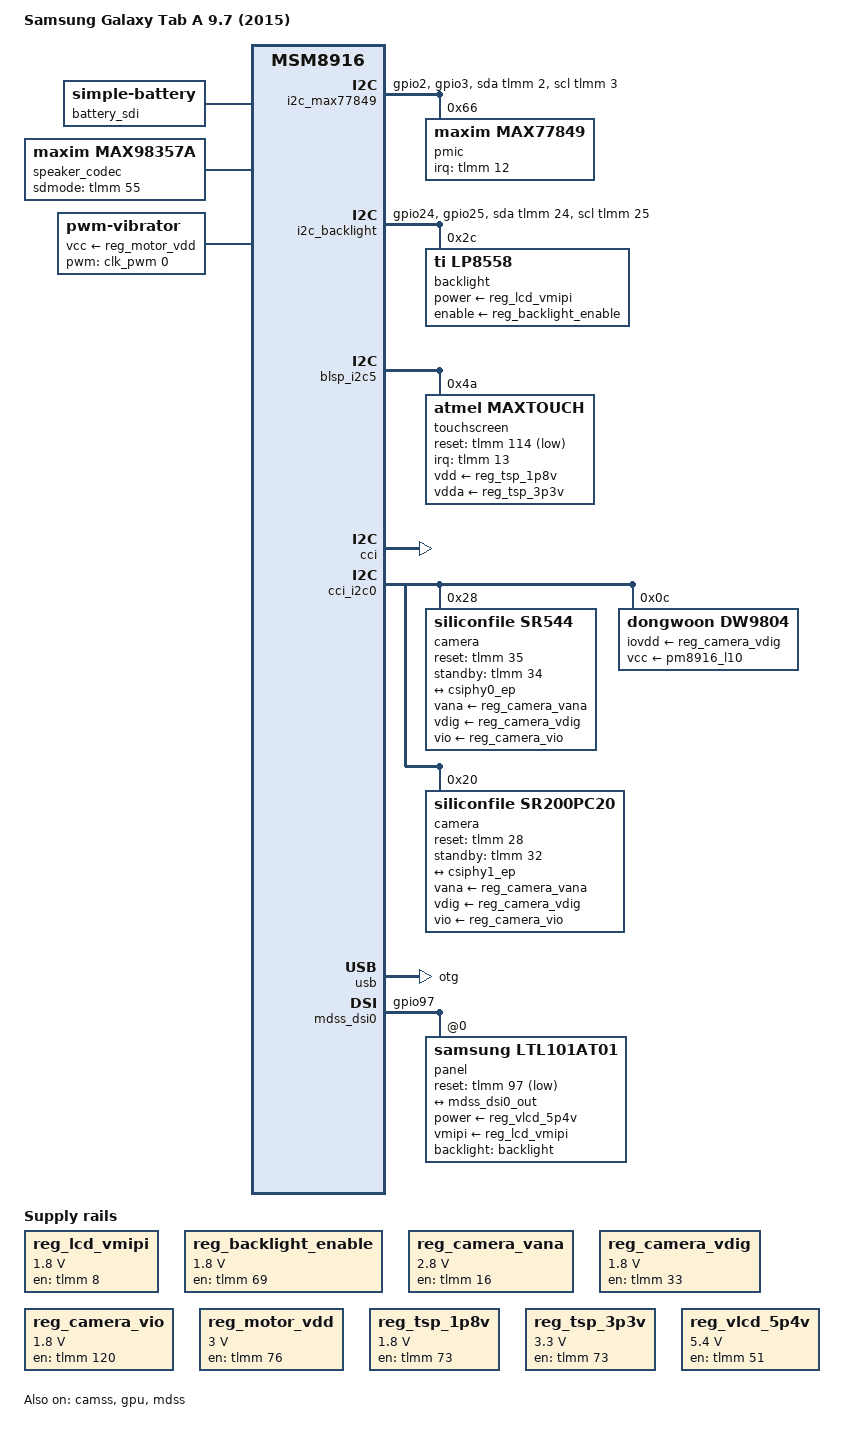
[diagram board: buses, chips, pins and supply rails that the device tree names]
// SPDX-License-Identifier: GPL-2.0-only

/dts-v1/;

#include "msm8916-samsung-gt5-common.dtsi"

/ {
	model = "Samsung Galaxy Tab A 9.7 (2015)";
	compatible = "samsung,gt510", "qcom,msm8916";
	chassis-type = "tablet";

	battery_sdi: battery {
		compatible = "simple-battery";
		device-chemistry = "lithium-ion";
		charge-full-design-microamp-hours = <6111000>;
		voltage-max-design-microvolt = <4350000>;
		over-voltage-threshold-microvolt = <4400000>;
		re-charge-voltage-microvolt = <4250000>;
		constant-charge-current-max-microamp = <2200000>;
		constant-charge-voltage-max-microvolt = <4350000>;
		charge-term-current-microamp = <300000>;
		operating-range-celsius = <(-5) 60>;
		alert-celsius = <0 45>;
	};

	/* GT510 hardware revisions 3 and later use GPIO2/3. */
	i2c_max77849: i2c-max77849 {
		compatible = "i2c-gpio";
		sda-gpios = <&tlmm 2 (GPIO_ACTIVE_HIGH | GPIO_OPEN_DRAIN)>;
		scl-gpios = <&tlmm 3 (GPIO_ACTIVE_HIGH | GPIO_OPEN_DRAIN)>;
		i2c-gpio,delay-us = <2>;

		pinctrl-0 = <&max77849_i2c_default>;
		pinctrl-names = "default";

		#address-cells = <1>;
		#size-cells = <0>;

		pmic@66 {
			compatible = "maxim,max77849";
			reg = <0x66>;
			interrupt-parent = <&tlmm>;
			interrupts = <12 IRQ_TYPE_EDGE_FALLING>;
			pinctrl-0 = <&max77849_int_default>;
			pinctrl-names = "default";
			wakeup-source;

			max77849_charger: charger {
				compatible = "maxim,max77849-charger";
				monitored-battery = <&battery_sdi>;
				maxim,monitored-fuel-gauge = <&fuelgauge>;

				/* Conservative USB profile until MUIC classifies VBUS. */
				maxim,input-current-limit-microamp = <460000>;
				maxim,input-current-limit-max-microamp = <1800000>;
				maxim,charge-current-limit-microamp = <520000>;
				maxim,cdp-input-current-limit-microamp = <1000000>;
				maxim,cdp-charge-current-limit-microamp = <1000000>;
				maxim,dcp-input-current-limit-microamp = <1800000>;
				maxim,dcp-charge-current-limit-microamp = <2200000>;
				maxim,otg-current-limit-microamp = <500000>;
				maxim,min-system-microvolt = <3600000>;
				maxim,fast-charge-timer-hours = <16>;
				maxim,topoff-timer-minutes = <70>;
				maxim,poll-interval-ms = <5000>;
			};

			muic: extcon {
				compatible = "maxim,max77849-muic";
				maxim,charger = <&max77849_charger>;
				maxim,poll-interval-ms = <1000>;

				connector {
					compatible = "usb-b-connector";
					label = "micro-USB";
					type = "micro";
				};
			};
		};
	};

	i2c_backlight: i2c-backlight {
		compatible = "i2c-gpio";
		sda-gpios = <&tlmm 24 (GPIO_ACTIVE_HIGH | GPIO_OPEN_DRAIN)>;
		scl-gpios = <&tlmm 25 (GPIO_ACTIVE_HIGH | GPIO_OPEN_DRAIN)>;
		i2c-gpio,delay-us = <4>;

		pinctrl-0 = <&backlight_i2c_default>;
		pinctrl-names = "default";

		#address-cells = <1>;
		#size-cells = <0>;

		backlight: backlight@2c {
			compatible = "ti,lp8558";
			reg = <0x2c>;
			bl-name = "lcd-backlight";
			dev-ctrl = /bits/ 8 <0x83>;
			init-brt = /bits/ 8 <0xcd>;
			power-supply = <&reg_lcd_vmipi>;
			enable-supply = <&reg_backlight_enable>;

			rom-a5h {
				rom-addr = /bits/ 8 <0xa5>;
				rom-val = /bits/ 8 <0x14>;
			};

			rom-a3h {
				rom-addr = /bits/ 8 <0xa3>;
				rom-val = /bits/ 8 <0x5e>;
			};

			rom-a0h {
				rom-addr = /bits/ 8 <0xa0>;
				rom-val = /bits/ 8 <0x65>;
			};

			rom-a1h {
				rom-addr = /bits/ 8 <0xa1>;
				rom-val = /bits/ 8 <0x6e>;
			};

			rom-a6h {
				rom-addr = /bits/ 8 <0xa6>;
				rom-val = /bits/ 8 <0x40>;
			};

			rom-a9h {
				rom-addr = /bits/ 8 <0xa9>;
				rom-val = /bits/ 8 <0xa0>;
			};

			rom-98h {
				rom-addr = /bits/ 8 <0x98>;
				rom-val = /bits/ 8 <0x21>;
			};

			rom-9eh {
				rom-addr = /bits/ 8 <0x9e>;
				rom-val = /bits/ 8 <0x00>;
			};
		};
	};

	speaker_codec: audio-codec {
		compatible = "maxim,max98357a";
		sdmode-gpios = <&tlmm 55 GPIO_ACTIVE_HIGH>;
		#sound-dai-cells = <0>;
		pinctrl-0 = <&audio_sdmode_default>;
		pinctrl-names = "default";
	};

	clk_pwm: pwm {
		compatible = "clk-pwm";
		#pwm-cells = <2>;

		clocks = <&gcc GCC_GP2_CLK>;

		pinctrl-0 = <&motor_pwm_default>;
		pinctrl-names = "default";
	};

	reg_lcd_vmipi: regulator-lcd-vmipi {
		compatible = "regulator-fixed";
		regulator-name = "lcd_vmipi";
		regulator-min-microvolt = <1800000>;
		regulator-max-microvolt = <1800000>;

		gpio = <&tlmm 8 GPIO_ACTIVE_HIGH>;
		enable-active-high;

		pinctrl-0 = <&lcd_en_default>;
		pinctrl-names = "default";
	};

	reg_backlight_enable: regulator-backlight-enable {
		compatible = "regulator-fixed";
		regulator-name = "backlight_enable";
		regulator-min-microvolt = <1800000>;
		regulator-max-microvolt = <1800000>;
		regulator-boot-on;

		gpio = <&tlmm 69 GPIO_ACTIVE_HIGH>;
		enable-active-high;

		pinctrl-0 = <&backlight_enable_default>;
		pinctrl-names = "default";
	};

	reg_camera_vana: regulator-camera-vana {
		compatible = "regulator-fixed";
		regulator-name = "camera_vana";
		regulator-min-microvolt = <2800000>;
		regulator-max-microvolt = <2800000>;

		gpio = <&tlmm 16 GPIO_ACTIVE_HIGH>;
		enable-active-high;

		pinctrl-0 = <&camera_vana_default>;
		pinctrl-names = "default";
	};

	reg_camera_vdig: regulator-camera-vdig {
		compatible = "regulator-fixed";
		regulator-name = "camera_vdig";
		regulator-min-microvolt = <1800000>;
		regulator-max-microvolt = <1800000>;

		gpio = <&tlmm 33 GPIO_ACTIVE_HIGH>;
		enable-active-high;

		pinctrl-0 = <&camera_vdig_default>;
		pinctrl-names = "default";
	};

	/* Revisions through r06 switch VIO here; the line is unused on r07. */
	reg_camera_vio: regulator-camera-vio {
		compatible = "regulator-fixed";
		regulator-name = "camera_vio";
		regulator-min-microvolt = <1800000>;
		regulator-max-microvolt = <1800000>;

		gpio = <&tlmm 120 GPIO_ACTIVE_HIGH>;
		enable-active-high;

		pinctrl-0 = <&camera_vio_default>;
		pinctrl-names = "default";
	};

	reg_motor_vdd: regulator-motor-vdd {
		compatible = "regulator-fixed";
		regulator-name = "motor_vdd";
		regulator-min-microvolt = <3000000>;
		regulator-max-microvolt = <3000000>;

		gpio = <&tlmm 76 GPIO_ACTIVE_HIGH>;
		enable-active-high;

		pinctrl-0 = <&motor_en_default>;
		pinctrl-names = "default";
	};

	reg_tsp_1p8v: regulator-tsp-1p8v {
		compatible = "regulator-fixed";
		regulator-name = "tsp_1p8v";
		regulator-min-microvolt = <1800000>;
		regulator-max-microvolt = <1800000>;

		gpio = <&tlmm 73 GPIO_ACTIVE_HIGH>;
		enable-active-high;

		pinctrl-0 = <&tsp_en_default>;
		pinctrl-names = "default";
	};

	reg_tsp_3p3v: regulator-tsp-3p3v {
		compatible = "regulator-fixed";
		regulator-name = "tsp_3p3v";
		regulator-min-microvolt = <3300000>;
		regulator-max-microvolt = <3300000>;

		gpio = <&tlmm 73 GPIO_ACTIVE_HIGH>;
		enable-active-high;
	};

	reg_vlcd_5p4v: regulator-vlcd-5p4v {
		compatible = "regulator-fixed";
		regulator-name = "vlcd_5p4v";
		regulator-min-microvolt = <5400000>;
		regulator-max-microvolt = <5400000>;

		gpio = <&tlmm 51 GPIO_ACTIVE_HIGH>;
		enable-active-high;

		pinctrl-0 = <&buckbooster_en_default>;
		pinctrl-names = "default";
	};

	vibrator {
		compatible = "pwm-vibrator";

		pwms = <&clk_pwm 0 100000>;
		pwm-names = "enable";

		vcc-supply = <&reg_motor_vdd>;
	};
};

&blsp_i2c5 {
	status = "okay";

	touchscreen@4a {
		compatible = "atmel,maxtouch";
		reg = <0x4a>;
		interrupt-parent = <&tlmm>;
		interrupts = <13 IRQ_TYPE_LEVEL_LOW>;

		vdd-supply = <&reg_tsp_1p8v>;
		vdda-supply = <&reg_tsp_3p3v>;

		reset-gpios = <&tlmm 114 GPIO_ACTIVE_LOW>;

		pinctrl-0 = <&tsp_int_rst_default>;
		pinctrl-names = "default";

		linux,keycodes = <KEY_APPSELECT KEY_BACK>;
	};
};

&camss {
	status = "okay";

	ports {
		port@0 {
			reg = <0>;

			csiphy0_ep: endpoint {
				clock-noncontinuous;
				data-lanes = <0 2>;
				remote-endpoint = <&sr544_ep>;
			};
		};

		port@1 {
			reg = <1>;

			csiphy1_ep: endpoint {
				clock-noncontinuous;
				data-lanes = <0>;
				remote-endpoint = <&sr200pc20_ep>;
			};
		};
	};
};

&cci {
	status = "okay";
};

&cci_i2c0 {
	camera@28 {
		compatible = "siliconfile,sr544";
		reg = <0x28>;

		clocks = <&gcc GCC_CAMSS_MCLK0_CLK>;
		clock-names = "xclk";
		assigned-clocks = <&gcc GCC_CAMSS_MCLK0_CLK>;
		assigned-clock-rates = <26000000>;

		pinctrl-0 = <&gt510_camera_rear_default>;
		pinctrl-names = "default";

		reset-gpios = <&tlmm 35 GPIO_ACTIVE_HIGH>;
		standby-gpios = <&tlmm 34 GPIO_ACTIVE_HIGH>;

		vana-supply = <&reg_camera_vana>;
		vdig-supply = <&reg_camera_vdig>;
		vio-supply = <&reg_camera_vio>;
		lens-focus = <&dw9804>;

		rotation = <90>;

		port {
			sr544_ep: endpoint {
				clock-noncontinuous;
				data-lanes = <1 2>;
				link-frequencies = /bits/ 64 <440000000>;
				remote-endpoint = <&csiphy0_ep>;
			};
		};
	};

	dw9804: camera-lens@c {
		compatible = "dongwoon,dw9804";
		reg = <0x0c>;
		iovdd-supply = <&reg_camera_vdig>;
		vcc-supply = <&pm8916_l10>;
	};

	camera@20 {
		compatible = "siliconfile,sr200pc20";
		reg = <0x20>;

		clocks = <&gcc GCC_CAMSS_MCLK1_CLK>;
		clock-names = "xclk";
		assigned-clocks = <&gcc GCC_CAMSS_MCLK1_CLK>;
		assigned-clock-rates = <26000000>;

		pinctrl-0 = <&gt510_camera_front_default>;
		pinctrl-names = "default";

		reset-gpios = <&tlmm 28 GPIO_ACTIVE_HIGH>;
		standby-gpios = <&tlmm 32 GPIO_ACTIVE_HIGH>;

		vana-supply = <&reg_camera_vana>;
		vdig-supply = <&reg_camera_vdig>;
		vio-supply = <&reg_camera_vio>;

		rotation = <270>;

		port {
			sr200pc20_ep: endpoint {
				clock-noncontinuous;
				data-lanes = <1>;
				link-frequencies = /bits/ 64 <144000000>;
				remote-endpoint = <&csiphy1_ep>;
			};
		};
	};
};

&gpu {
	status = "okay";
};

&fuelgauge {
	power-supplies = <&max77849_charger>;
};

&usb {
	dr_mode = "otg";
	extcon = <&muic>, <&muic>;
};

&usb_hs_phy {
	extcon = <&muic>;
};

&mdss {
	status = "okay";
};

&mdss_dsi0 {
	pinctrl-0 = <&mdss_default>;
	pinctrl-1 = <&mdss_sleep>;
	pinctrl-names = "default", "sleep";

	panel@0 {
		compatible = "samsung,ltl101at01", "samsung,s6d7aa0";
		reg = <0>;

		power-supply = <&reg_vlcd_5p4v>;
		vmipi-supply = <&reg_lcd_vmipi>;
		reset-gpios = <&tlmm 97 GPIO_ACTIVE_LOW>;
		backlight = <&backlight>;

		port {
			panel_in: endpoint {
				remote-endpoint = <&mdss_dsi0_out>;
			};
		};
	};
};

&mdss_dsi0_out {
	data-lanes = <0 1 2 3>;
	remote-endpoint = <&panel_in>;
};

&sound {
	model = "samsung-gt510";
	pinctrl-0 = <&cdc_pdm_default &sec_mi2s_default>;
	pinctrl-1 = <&cdc_pdm_sleep &sec_mi2s_sleep>;
	pinctrl-names = "default", "sleep";
};

&tlmm {
	backlight_enable_default: backlight-enable-default-state {
		pins = "gpio69";
		function = "gpio";
		drive-strength = <2>;
		bias-disable;
	};

	backlight_i2c_default: backlight-i2c-default-state {
		pins = "gpio24", "gpio25";
		function = "gpio";
		drive-strength = <2>;
		bias-disable;
	};

	gt510_camera_front_default: gt510-camera-front-default-state {
		control-pins {
			pins = "gpio28", "gpio32";
			function = "gpio";
			drive-strength = <2>;
			bias-disable;
		};

		mclk-pins {
			pins = "gpio27";
			function = "cam_mclk1";
			drive-strength = <4>;
			bias-disable;
		};
	};

	gt510_camera_rear_default: gt510-camera-rear-default-state {
		control-pins {
			pins = "gpio34", "gpio35";
			function = "gpio";
			drive-strength = <2>;
			bias-disable;
		};

		mclk-pins {
			pins = "gpio26";
			function = "cam_mclk0";
			drive-strength = <4>;
			bias-disable;
		};
	};

	camera_vana_default: camera-vana-default-state {
		pins = "gpio16";
		function = "gpio";
		drive-strength = <2>;
		bias-disable;
	};

	camera_vdig_default: camera-vdig-default-state {
		pins = "gpio33";
		function = "gpio";
		drive-strength = <2>;
		bias-disable;
	};

	camera_vio_default: camera-vio-default-state {
		pins = "gpio120";
		function = "gpio";
		drive-strength = <2>;
		bias-disable;
	};

	audio_sdmode_default: audio-sdmode-default-state {
		pins = "gpio55";
		function = "gpio";
		drive-strength = <2>;
		bias-disable;
	};

	buckbooster_en_default: buckbooster-en-default-state {
		pins = "gpio51";
		function = "gpio";
		drive-strength = <2>;
		bias-disable;
	};

	motor_en_default: motor-en-default-state {
		pins = "gpio76";
		function = "gpio";
		drive-strength = <2>;
		bias-disable;
	};

	motor_pwm_default: motor-pwm-default-state {
		pins = "gpio50";
		function = "gcc_gp2_clk_a";
	};

	lcd_en_default: lcd-en-default-state {
		pins = "gpio8";
		function = "gpio";
		drive-strength = <2>;
		bias-disable;
	};

	max77849_i2c_default: max77849-i2c-default-state {
		pins = "gpio2", "gpio3";
		function = "gpio";
		drive-strength = <2>;
		bias-disable;
	};

	max77849_int_default: max77849-int-default-state {
		pins = "gpio12";
		function = "gpio";
		drive-strength = <2>;
		bias-disable;
	};

	mdss_default: mdss-default-state {
		pins = "gpio97";
		function = "gpio";
		drive-strength = <8>;
		bias-disable;
	};

	mdss_sleep: mdss-sleep-state {
		pins = "gpio97";
		function = "gpio";
		drive-strength = <2>;
		bias-pull-down;
	};

	tsp_en_default: tsp-en-default-state {
		pins = "gpio73";
		function = "gpio";
		drive-strength = <2>;
		bias-disable;
	};

	tsp_int_rst_default: tsp-int-rst-default-state {
		pins = "gpio13", "gpio114";
		function = "gpio";
		drive-strength = <2>;
		bias-disable;
	};
};
